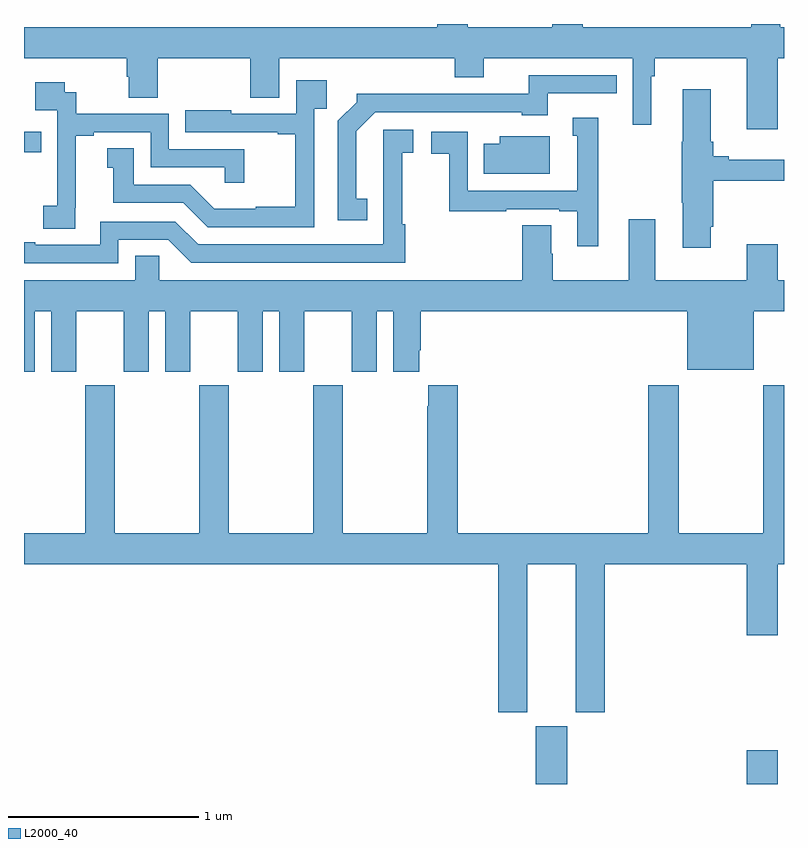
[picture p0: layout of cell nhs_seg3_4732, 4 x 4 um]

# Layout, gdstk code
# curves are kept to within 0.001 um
import gdstk
lib = gdstk.Library(unit=1e-6, precision=1e-09)
def R(c, l, rs):  # rectangles x0, y0, x1, y1
    for r in rs: c.add(gdstk.rectangle(r[:2], r[2:], *l))
def P(c, l, *ps):  # polygons
    for p in ps: c.add(gdstk.Polygon(p, *l))
L2000_40 = (2000, 40)

nhs_seg3_4732 = lib.new_cell('nhs_seg3_4732')
R(nhs_seg3_4732, L2000_40, [(367.694,726.4,367.858,726.705), (368.804,726.4,368.968,726.577), (365,729.726,365.09,729.834)])
P(nhs_seg3_4732, L2000_40, [(368.968,730.22),(369,730.22),(369,730.384),(368.98,730.384),(368.98,730.4),(368.828,730.4),(368.828,730.384),(367.94,730.384),(367.94,730.4),(367.78,730.4),(367.78,730.384),(367.335,730.384),(367.335,730.4),(367.175,730.4),(367.175,730.384),(365,730.384),(365,730.22),(365.54,730.22),(365.54,730.122),(365.552,730.122),(365.552,730.012),(365.705,730.012),(365.705,730.22),(366.191,730.22),(366.191,730.012),(366.343,730.012),(366.343,730.22),(367.268,730.22),(367.268,730.121),(367.42,730.121),(367.42,730.22),(368.205,730.22),(368.205,729.87),(368.302,729.87),(368.302,730.124),(368.321,730.124),(368.321,730.22),(368.804,730.22),(368.804,729.846),(368.968,729.846)],
  [(366.806,729.479),(366.748,729.479),(366.748,729.835),(366.849,729.936),(367.62,729.936),(367.62,729.92),(367.756,729.92),(367.756,730.035),(368.12,730.035),(368.12,730.131),(367.657,730.131),(367.657,730.032),(367.184,730.032),(367.184,730.034),(366.75,730.034),(366.75,729.989),(366.651,729.89),(366.651,729.366),(366.806,729.366)],
  [(366.528,729.953),(366.593,729.953),(366.593,730.105),(366.432,730.105),(366.432,729.927),(366.091,729.927),(366.091,729.946),(365.848,729.946),(365.848,729.831),(366.335,729.831),(366.335,729.819),(366.427,729.819),(366.427,729.439),(366.221,729.439),(366.221,729.427),(366.002,729.427),(365.874,729.555),(365.578,729.555),(365.578,729.746),(365.438,729.746),(365.438,729.643),(365.471,729.643),(365.471,729.459),(365.838,729.459),(365.967,729.33),(366.528,729.33)],
  [(365.27,729.433),(365.272,729.433),(365.272,729.811),(365.368,729.811),(365.368,729.831),(365.667,729.831),(365.667,729.645),(366.057,729.645),(366.057,729.564),(366.158,729.564),(366.158,729.741),(365.763,729.741),(365.763,729.927),(365.276,729.927),(365.276,730.041),(365.214,730.041),(365.214,730.093),(365.058,730.093),(365.058,729.945),(365.175,729.945),(365.175,729.641),(365.174,729.641),(365.174,729.444),(365.1,729.444),(365.1,729.322),(365.27,729.322)],
  [(368.614,729.334),(368.627,729.334),(368.627,729.576),(369,729.576),(369,729.685),(368.71,729.685),(368.71,729.704),(368.627,729.704),(368.627,729.781),(368.614,729.781),(368.614,730.057),(368.468,730.057),(368.468,729.781),(368.461,729.781),(368.461,729.46),(368.468,729.46),(368.468,729.222),(368.614,729.222)],
  [(368.023,729.907),(367.889,729.907),(367.889,729.813),(367.913,729.813),(367.913,729.522),(367.335,729.522),(367.335,729.834),(367.143,729.834),(367.143,729.718),(367.237,729.718),(367.237,729.414),(367.538,729.414),(367.538,729.426),(367.817,729.426),(367.817,729.414),(367.913,729.414),(367.913,729.231),(368.023,729.231)],
  [(365.496,729.264),(365.76,729.264),(365.88,729.144),(367.007,729.144),(367.007,729.347),(366.99,729.347),(366.99,729.723),(367.048,729.723),(367.048,729.844),(366.89,729.844),(366.891,729.24),(365.916,729.24),(365.796,729.36),(365.4,729.36),(365.4,729.237),(365.059,729.237),(365.059,729.252),(365,729.252),(365,729.141),(365.496,729.141)],
  [(367.768,729.808),(367.505,729.808),(367.505,729.769),(367.42,729.769),(367.42,729.611),(367.768,729.611)],
  [(365.056,728.888),(365.144,728.888),(365.144,728.571),(365.275,728.571),(365.275,728.888),(365.525,728.888),(365.525,728.571),(365.656,728.571),(365.656,728.888),(365.744,728.888),(365.744,728.571),(365.875,728.571),(365.875,728.888),(366.125,728.888),(366.125,728.571),(366.256,728.571),(366.256,728.888),(366.344,728.888),(366.344,728.571),(366.475,728.571),(366.475,728.888),(366.725,728.888),(366.725,728.571),(366.856,728.571),(366.856,728.888),(366.944,728.888),(366.944,728.571),(367.081,728.571),(367.081,728.683),(367.088,728.683),(367.088,728.888),(368.492,728.888),(368.492,728.579),(368.842,728.579),(368.842,728.888),(369,728.888),(369,729.052),(368.968,729.052),(368.968,729.241),(368.804,729.241),(368.804,729.052),(368.323,729.052),(368.323,729.373),(368.183,729.373),(368.183,729.052),(367.782,729.052),(367.782,729.191),(367.774,729.191),(367.774,729.341),(367.622,729.341),(367.622,729.052),(365.712,729.052),(365.712,729.179),(365.585,729.179),(365.585,729.052),(365,729.052),(365,728.571),(365.056,728.571)],
  [(367.127,728.5),(367.127,728.387),(367.123,728.387),(367.123,727.72),(366.678,727.72),(366.678,728.5),(366.523,728.5),(366.523,727.72),(366.078,727.72),(366.078,728.5),(365.923,728.5),(365.923,727.72),(365.478,727.72),(365.478,728.5),(365.323,728.5),(365.323,727.72),(365,727.72),(365,727.556),(367.496,727.556),(367.496,726.777),(367.648,726.777),(367.648,727.556),(367.904,727.556),(367.904,726.777),(368.057,726.777),(368.057,727.556),(368.804,727.556),(368.804,727.182),(368.968,727.182),(368.968,727.556),(369,727.556),(369,728.5),(368.89,728.5),(368.89,727.72),(368.445,727.72),(368.445,728.5),(368.285,728.5),(368.285,727.72),(367.283,727.72),(367.283,728.5)])

lib.write_gds('nhs_seg3_4732.gds')
